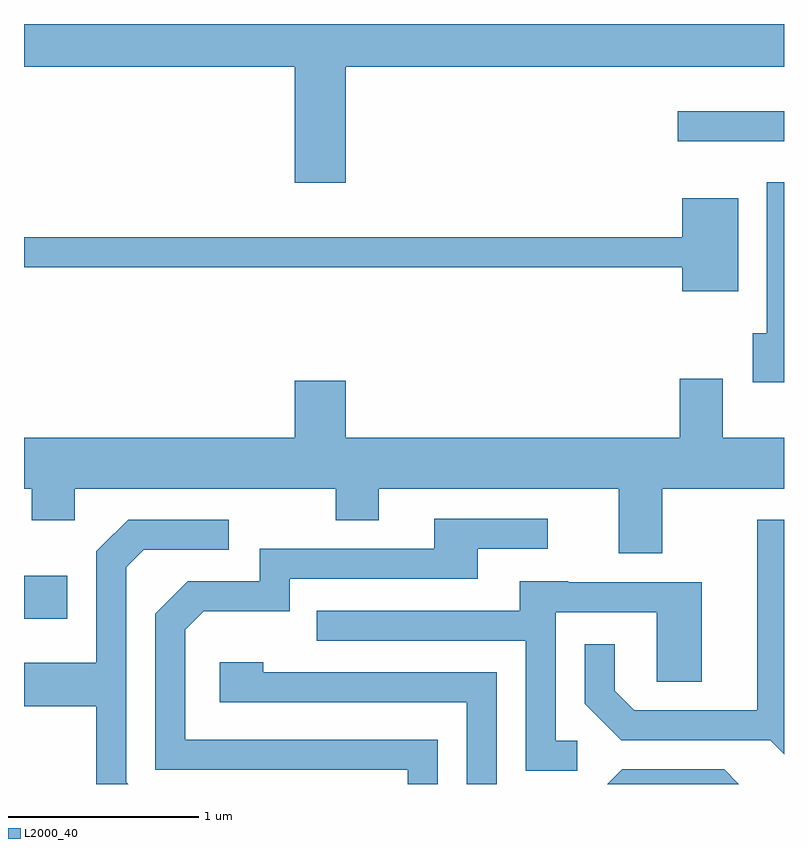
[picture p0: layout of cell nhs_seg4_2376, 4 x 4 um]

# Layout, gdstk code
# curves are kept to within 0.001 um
import gdstk
lib = gdstk.Library(unit=1e-6, precision=1e-09)
def R(c, l, rs):  # rectangles x0, y0, x1, y1
    for r in rs: c.add(gdstk.rectangle(r[:2], r[2:], *l))
def P(c, l, *ps):  # polygons
    for p in ps: c.add(gdstk.Polygon(p, *l))
L2000_40 = (2000, 40)

nhs_seg4_2376 = lib.new_cell('nhs_seg4_2376')
R(nhs_seg4_2376, L2000_40, [(253.611,1382.851,253.839,1383.079), (257.053,1385.366,257.611,1385.524)])
P(nhs_seg4_2376, L2000_40, [(255.304,1385.756),(257.611,1385.756),(257.611,1385.982),(253.611,1385.982),(253.611,1385.756),(255.036,1385.756),(255.036,1385.146),(255.304,1385.146)],
  [(257.611,1385.149),(257.521,1385.149),(257.521,1384.354),(257.446,1384.354),(257.446,1384.096),(257.611,1384.096)],
  [(257.369,1385.064),(257.076,1385.064),(257.076,1384.859),(253.611,1384.859),(253.611,1384.701),(257.076,1384.701),(257.076,1384.576),(257.369,1384.576)],
  [(257.611,1383.804),(257.289,1383.804),(257.289,1384.114),(257.061,1384.114),(257.061,1383.804),(255.304,1383.804),(255.304,1384.104),(255.036,1384.104),(255.036,1383.804),(253.611,1383.804),(253.611,1383.536),(253.651,1383.536),(253.651,1383.371),(253.879,1383.371),(253.879,1383.536),(255.251,1383.536),(255.251,1383.371),(255.479,1383.371),(255.479,1383.536),(256.741,1383.536),(256.741,1383.196),(256.969,1383.196),(256.969,1383.536),(257.611,1383.536)],
  [(255.789,1382.214),(254.459,1382.214),(254.459,1382.794),(254.557,1382.891),(255.009,1382.891),(255.009,1383.061),(255.999,1383.061),(255.999,1383.221),(256.368,1383.221),(256.368,1383.379),(255.771,1383.379),(255.771,1383.219),(254.851,1383.219),(254.851,1383.049),(254.474,1383.049),(254.301,1382.877),(254.301,1382.056),(255.631,1382.056),(255.631,1381.982),(255.789,1381.982)],
  [(254.149,1381.992),(254.149,1383.124),(254.242,1383.216),(254.688,1383.216),(254.688,1383.374),(254.159,1383.374),(253.991,1383.207),(253.991,1382.619),(253.611,1382.619),(253.611,1382.391),(253.991,1382.391),(253.991,1381.982),(254.159,1381.982)],
  [(257.611,1383.374),(257.471,1383.374),(257.471,1382.369),(256.822,1382.369),(256.719,1382.472),(256.719,1382.718),(256.561,1382.718),(256.561,1382.404),(256.754,1382.211),(257.539,1382.211),(257.611,1382.138)],
  [(256.522,1382.209),(256.409,1382.209),(256.409,1382.886),(256.941,1382.886),(256.941,1382.521),(257.179,1382.521),(257.179,1383.044),(256.475,1383.044),(256.475,1383.049),(256.221,1383.049),(256.221,1382.894),(255.153,1382.894),(255.153,1382.736),(256.251,1382.736),(256.251,1382.051),(256.522,1382.051)],
  [(256.099,1382.569),(254.869,1382.569),(254.869,1382.624),(254.641,1382.624),(254.641,1382.411),(255.941,1382.411),(255.941,1381.982),(256.099,1381.982)],
  [(257.296,1382.059),(256.759,1382.059),(256.682,1381.982),(257.374,1381.982)])

lib.write_gds('nhs_seg4_2376.gds')
